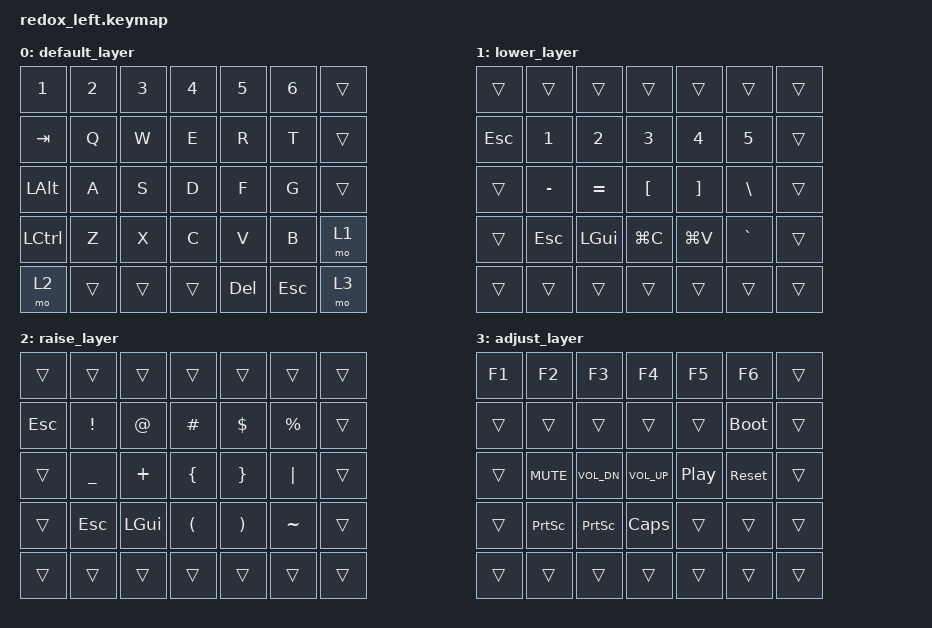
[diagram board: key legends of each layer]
/*
 * Copyright (c) 2021 The ZMK Contributors
 *
 * SPDX-License-Identifier: MIT
 */

#include <behaviors.dtsi>
#include <dt-bindings/zmk/keys.h>
#include <dt-bindings/zmk/bt.h>
#include <dt-bindings/zmk/ext_power.h>
#include <dt-bindings/zmk/outputs.h>
&nice_view_oled {
        compatible = "zmk,nice-view";
        label = "Nice View";
        status = "okay";
};
/ {
    display_text {
        compatible = "zmk,display-text";
        text = "Redox Left";
    };
    keymap {
        compatible = "zmk,keymap";

        default_layer {
            /*
             * Левая половинка клавиатуры (7x5)
             * Столбцы: 1-7 (от центра к краям)
             * Ряды: 1-5 (сверху вниз)
             * 
             * ┌───┬───┬───┬───┬───┬───┬───┐
             * │ 1 │ 2 │ 3 │ 4 │ 5 │ 6 │   │  <- Ряд 1
             * ├───┼───┼───┼───┼───┼───┤   │
             * │TAB│ Q │ W │ E │ R │ T │   │  <- Ряд 2 (QWERTY)
             * ├───┼───┼───┼───┼───┼───┤   │
             * │ALT│ A │ S │ D │ F │ G │   │  <- Ряд 3 (QWERTY)
             * ├───┼───┼───┼───┼───┼───┤   │
             * │CTL│ Z │ X │ C │ V │ B │SFT│  <- Ряд 4 (QWERTY, с дополнительной кнопкой)
             * ├───┼───┼───┼───┼───┼───┤   │
             * │   │   │   │   │DEL│ESC│SFT│  <- Ряд 5 (островок)
             * └───┴───┴───┴───┴───┴───┴───┘
             *   1   2   3   4   5   6   7
             */
            bindings = <
                &kp N1    &kp N2    &kp N3    &kp N4    &kp N5    &kp N6    &trans
                &kp TAB   &kp Q     &kp W     &kp E     &kp R     &kp T     &trans
                &kp LALT  &kp A     &kp S     &kp D     &kp F     &kp G     &trans
                &kp LCTRL &kp Z     &kp X     &kp C     &kp V     &kp B     &mo 1
                &mo 2     &trans    &trans    &trans    &kp DEL   &kp ESC   &mo 3
            >;
        };

        lower_layer {
            /*
             * ┌───┬───┬───┬───┬───┬───┬───┐
             * │   │   │   │   │   │   │   │
             * ├───┼───┼───┼───┼───┼───┤   │
             * │ESC│ 1 │ 2 │ 3 │ 4 │ 5 │   │
             * ├───┼───┼───┼───┼───┼───┤   │
             * │   │ - │ = │ [ │ ] │ \ │   │
             * ├───┼───┼───┼───┼───┼───┤   │
             * │   │ESC│GUI│CPY│PST│   │   │
             * ├───┼───┼───┼───┼───┼───┤   │
             * │   │   │   │   │   │   │   │
             * └───┴───┴───┴───┴───┴───┴───┘
             */
            bindings = <
                &trans    &trans    &trans    &trans    &trans    &trans    &trans
                &kp ESC   &kp N1    &kp N2    &kp N3    &kp N4    &kp N5    &trans
                &trans    &kp MINUS &kp EQUAL &kp LBKT  &kp RBKT  &kp BSLH  &trans
                &trans    &kp ESC   &kp LGUI  &kp LG(C) &kp LG(V) &kp GRAVE &trans
                &trans    &trans    &trans    &trans    &trans    &trans    &trans
            >;
        };

        raise_layer {
            /*
             * ┌───┬───┬───┬───┬───┬───┬───┐
             * │   │   │   │   │   │   │   │
             * ├───┼───┼───┼───┼───┼───┤   │
             * │ESC│ ! │ @ │ # │ $ │ % │   │
             * ├───┼───┼───┼───┼───┼───┤   │
             * │   │ _ │ + │ { │ } │ | │   │
             * ├───┼───┼───┼───┼───┼───┤   │
             * │   │ESC│GUI│ ( │ ) │ ~ │   │
             * ├───┼───┼───┼───┼───┼───┤   │
             * │   │   │   │   │   │   │   │
             * └───┴───┴───┴───┴───┴───┴───┘
             */
            bindings = <
                &trans    &trans    &trans    &trans    &trans    &trans    &trans
                &kp ESC   &kp EXCL  &kp AT    &kp HASH  &kp DLLR  &kp PRCNT &trans
                &trans    &kp UNDER &kp PLUS  &kp LBRC  &kp RBRC  &kp PIPE  &trans
                &trans    &kp ESC   &kp LGUI  &kp LPAR  &kp RPAR  &kp TILDE &trans
                &trans    &trans    &trans    &trans    &trans    &trans    &trans
            >;
        };

        adjust_layer {
            /*
             * ┌───┬───┬───┬───┬───┬───┬───┐
             * │F1 │F2 │F3 │F4 │F5 │F6 │   │
             * ├───┼───┼───┼───┼───┼───┤   │
             * │   │   │   │   │   │BOOT│   │
             * ├───┼───┼───┼───┼───┼───┤   │
             * │   │MUT│V- │V+ │PP │RST│   │
             * ├───┼───┼───┼───┼───┼───┤   │
             * │   │PSC│PSC│CAP│   │   │   │
             * ├───┼───┼───┼───┼───┼───┤   │
             * │   │   │   │   │   │   │   │
             * └───┴───┴───┴───┴───┴───┴───┘
             */
            bindings = <
                &kp F1    &kp F2    &kp F3    &kp F4    &kp F5    &kp F6    &trans
                &trans    &trans    &trans    &trans    &trans    &bootloader &trans
                &trans    &kp K_MUTE &kp C_VOL_DN &kp C_VOL_UP &kp C_PLAY_PAUSE &sys_reset &trans
                &trans    &kp PSCRN &kp PSCRN &kp CLCK &trans &trans &trans
                &trans    &trans    &trans    &trans    &trans    &trans    &trans
            >;
        };
    };
};
